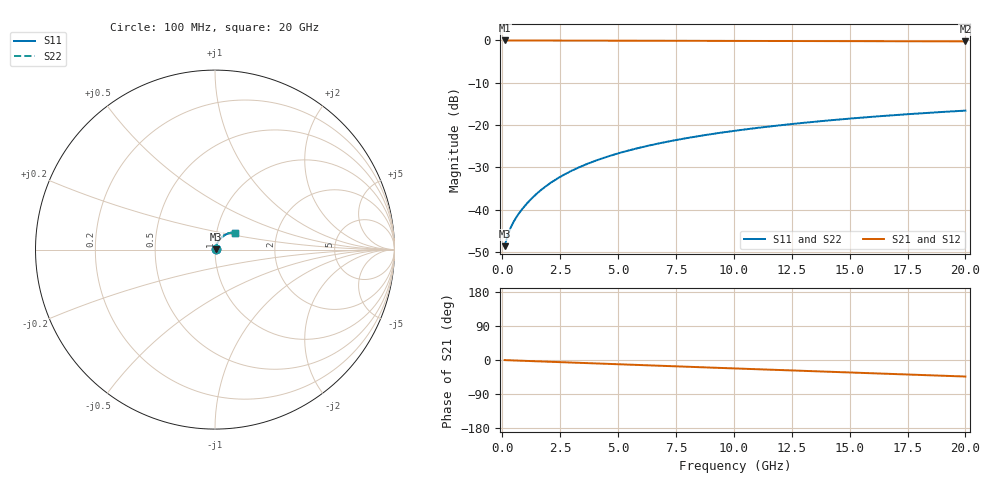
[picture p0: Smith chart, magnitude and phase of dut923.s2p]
! Touchstone file exported from HFSS 2026.1.0
!  File:  C:/ffzhzh/LocalFiles/Ansys_Project_Files/temp_train_TMRDL_923_1783158209_18472.aedt
!  Generated:  05:44:35 PM Jul  4, 2026
!  Design:  TMRDL
!  Project:  temp_train_TMRDL_923_1783158209_18472
! Variables:
!  h_bsmrdl = 2um
!  h_ox = 20um
!  h_rdl = 5um
!  h_sub = 80um
!  h_tmrdl = 3.68um
!  h_tsv = 80um
!  h_via = 3um
!  l_bsmrdl = 300um
!  l_sub = 1158.46um
!  l_tmrdl = 758.46um
!  m_sub = 200um
!  pitch = 31.39um
!  r_tsv = 6um
!  s_tmrdl = 10um
!  w_bsmrdl = 18um
!  w_sub = 500um
!  w_tmrdl = 23.38um
!  x_tsv_center1 = 770.15um
!  x_tsv_center2 = 1088.15um
!  x_tsv_center3 = 1869.99um
!  x_tsv_center4 = 2187.99um
!  x_tsv_center5 = 2969.83um
!  x_tsv_center6 = 3287.83um
# GHz S MA R 50.000000
! Terminal data exported
! Port[1] = TM_RDL1_1_T1
! Port[2] = TM_RDL1_1_T2
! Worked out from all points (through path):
!   200 points, 100 MHz to 20 GHz, reference 50 ohm
!   highest |S21| = -0.03 dB at 100 MHz (marker M1); lowest = -0.2 dB at 20 GHz (marker M2)
!   group delay of S21, straight-line fit = 6.04 ps
!   lowest |S11| = -48.6 dB at 100 MHz (marker M3), VSWR 1.01, Z = 50.3 + j0.145 ohm
!   |S11| at or under -10 dB: start of sweep to end of sweep
!   |S22| runs from -48.6 to -16.6 dB; largest |S21 - S12| = 3.7e-15
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0.1  0.003695 23.0  0.9966 -0.3  0.9966 -0.3  0.003695 23.0
! Gamma 0 0 0 0
! Port Impedance 50 0 50 0
0.2  0.004618 35.7  0.9963 -0.5  0.9963 -0.5  0.004618 35.7
0.3  0.005571 42.2  0.9959 -0.7  0.9959 -0.7  0.005572 42.2
0.4  0.006448 46.4  0.9956 -1.0  0.9956 -1.0  0.006449 46.5
0.5  0.007267 49.7  0.9954 -1.2  0.9954 -1.2  0.007269 49.7
0.6  0.008061 52.5  0.9953 -1.4  0.9953 -1.4  0.008063 52.5
0.8  0.009647 57.2  0.995 -1.9  0.995 -1.9  0.009649 57.1
1.2  0.01294 63.3  0.9947 -2.8  0.9947 -2.8  0.01294 63.3
1.7  0.01726 67.5  0.9944 -3.9  0.9944 -3.9  0.01726 67.4
2.2  0.02169 69.4  0.994 -5.0  0.994 -5.0  0.02169 69.4
2.8  0.02702 70.3  0.9934 -6.3  0.9934 -6.3  0.02702 70.3
3.5  0.0332 70.3  0.9927 -7.9  0.9927 -7.9  0.03321 70.3
4.2  0.0393 69.7  0.9919 -9.5  0.9919 -9.5  0.0393 69.7
5  0.04611 68.7  0.9909 -11.3  0.9909 -11.3  0.04611 68.6
5.9  0.05358 67.2  0.9897 -13.2  0.9897 -13.2  0.05358 67.2
6.8  0.06083 65.6  0.9884 -15.2  0.9884 -15.2  0.06083 65.6
8.3  0.07248 62.8  0.9864 -18.5  0.9864 -18.5  0.07248 62.8
10.1  0.08579 59.4  0.9839 -22.4  0.9839 -22.4  0.0858 59.4
11.7  0.09709 56.3  0.9818 -25.9  0.9818 -25.9  0.09709 56.3
13.4  0.1086 53.1  0.9797 -29.5  0.9797 -29.5  0.1086 53.0
16.7  0.1293 46.6  0.9756 -36.6  0.9756 -36.6  0.1293 46.5
20  0.1477 40.2  0.9717 -43.6  0.9717 -43.6  0.1477 40.0
